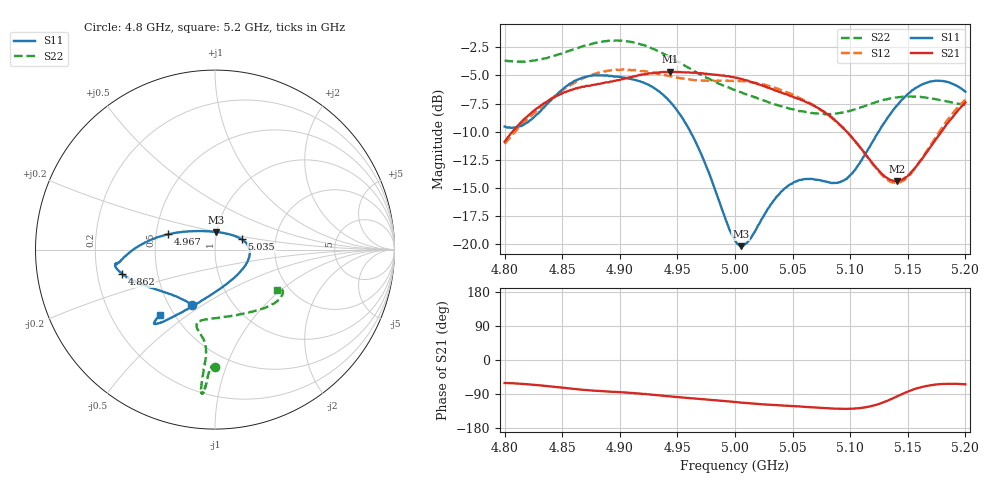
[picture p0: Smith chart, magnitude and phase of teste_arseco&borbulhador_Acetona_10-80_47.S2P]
! Network Analyzer HP8722D
! Hewlett-Packard
! Data name: Linha & Wilkinson
! Saver's name: Rodrigo Anjos
! Comments: Teste da utilização de aquisição
! continua pelo VNA HP8722D
! Time and date: 17/4/2025 14:45
!  Frequency  S11  S21  S12  S22
# HZ  S  MA R 50
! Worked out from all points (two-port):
!   401 points, 4.8 GHz to 5.2 GHz, reference 50 ohm
!   highest |S21| = -4.67 dB at 4.944 GHz (marker M1); lowest = -14.4 dB at 5.141 GHz (marker M2)
!   |S21| within 3 dB of the highest: 4.831 GHz to 5.068 GHz (236.5 MHz wide, 4.78 % of centre); 5.197454 GHz to end of sweep
!   lowest |S11| = -20.2 dB at 5.005 GHz (marker M3), VSWR 1.22, Z = 49.7 + j9.81 ohm
!   |S11| at or under -10 dB: 4.961 GHz to 5.125 GHz (163.3 MHz wide, 3.24 % of centre)
!   |S22| runs from -8.5 to -1.9 dB; largest |S21 - S12| = 0.87
!   S11 on the Smith chart (normalised r, x): 4.8 GHz: 0.65, -0.45; 4.862 GHz: 0.31, -0.12; 4.967 GHz: 0.58, +0.11; 5.035 GHz: 1.34, +0.16; 5.2 GHz: 0.42, -0.39
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4.8e9  0.3335 -113.0  0.2854 -60.7  0.2792 -174.9  0.6563 -89.9
4.819e9  0.3463 -133.0  0.3668 -63.9  0.3557 -173.4  0.6502 -91.4
4.862e9  0.5352 -165.4  0.4934 -76.8  0.5278 -176.5  0.7428 -93.6
4.867e9  0.5482 -167.3  0.5013 -78.2  0.5425 -177.5  0.7555 -93.8
4.902e9  0.5505 -172.1  0.5419 -85.4  0.5971 175.4  0.8029 -95.2
4.934e9  0.4789 -177.9  0.5798 -93.3  0.5728 171.9  0.7171 -95.6
4.944e9  0.4278 177.5  0.5838 -96.2  0.5576 172.1  0.6772 -95.4
4.967e9  0.2766 162.1  0.577 -102.2  0.5358 174.0  0.5782 -95.0
5e9  0.1041 103.3  0.5513 -111.0  0.5331 176.3  0.484 -99.0
5.005e9  0.09801 86.1  0.5433 -112.4  0.531 176.2  0.4732 -100.1
5.012e9  0.1038 63.1  0.5295 -114.1  0.5256 176.0  0.4602 -101.7
5.035e9  0.1597 21.0  0.4825 -119.2  0.4952 175.0  0.4178 -103.3
5.05e9  0.187 5.7  0.4532 -121.8  0.4628 174.2  0.3983 -99.7
5.067e9  0.195 -12.5  0.4169 -124.8  0.4191 174.0  0.3832 -91.0
5.086e9  0.1871 -42.5  0.3596 -128.3  0.3568 173.7  0.3804 -76.7
5.097e9  0.1951 -65.1  0.3163 -128.9  0.3153 174.3  0.3888 -67.6
5.134e9  0.374 -115.9  0.1941 -105.3  0.1906 -158.4  0.4436 -43.0
5.141e9  0.416 -119.8  0.1905 -95.5  0.1875 -147.2  0.4496 -39.9
5.152e9  0.4735 -124.4  0.2064 -81.0  0.2035 -130.3  0.4534 -36.0
5.17e9  0.5287 -128.4  0.2715 -66.5  0.2768 -112.6  0.4452 -31.8
5.184e9  0.5267 -129.8  0.343 -62.9  0.3538 -107.1  0.4314 -30.9
5.2e9  0.4764 -130.2  0.4266 -64.1  0.4392 -106.3  0.4151 -33.1
